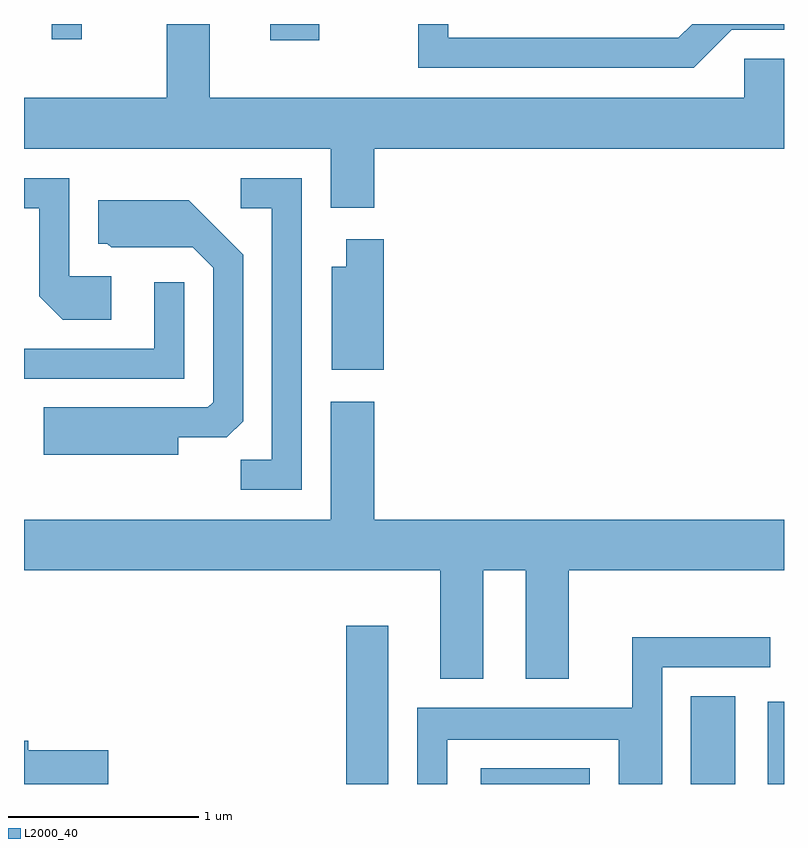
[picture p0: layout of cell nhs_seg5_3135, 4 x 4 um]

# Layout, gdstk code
import gdstk
lib = gdstk.Library(unit=1e-6, precision=1e-09)
def R(c, l, rs):  # rectangles x0, y0, x1, y1
    for r in rs: c.add(gdstk.rectangle(r[:2], r[2:], *l))
def P(c, l, *ps):  # polygons
    for p in ps: c.add(gdstk.Polygon(p, *l))
L2000_40 = (2000, 40)

nhs_seg5_3135 = lib.new_cell('nhs_seg5_3135')
R(nhs_seg5_3135, L2000_40, [(279.306,1500.072,279.529,1500.904), (280.016,1500.072,280.589,1500.154), (281.121,1500.072,281.354,1500.534), (281.526,1500.072,281.611,1500.504), (278.906,1503.986,279.164,1504.072), (277.756,1503.993,277.914,1504.072)])
P(nhs_seg5_3135, L2000_40, [(279.454,1503.416),(281.611,1503.416),(281.611,1503.889),(281.401,1503.889),(281.401,1503.684),(278.589,1503.684),(278.589,1504.072),(278.361,1504.072),(278.361,1503.684),(277.611,1503.684),(277.611,1503.416),(279.226,1503.416),(279.226,1503.106),(279.454,1503.106)],
  [(281.337,1504.041),(281.611,1504.041),(281.611,1504.072),(281.127,1504.072),(281.054,1503.999),(279.844,1503.999),(279.844,1504.072),(279.686,1504.072),(279.686,1503.841),(281.137,1503.841)],
  [(278.069,1502.744),(277.849,1502.744),(277.849,1503.259),(277.611,1503.259),(277.611,1503.101),(277.691,1503.101),(277.691,1502.639),(277.814,1502.516),(278.069,1502.516)],
  [(279.074,1503.259),(278.753,1503.259),(278.753,1503.101),(278.916,1503.101),(278.916,1501.779),(278.753,1501.779),(278.753,1501.621),(279.074,1501.621)],
  [(278.424,1501.896),(278.679,1501.896),(278.764,1501.982),(278.764,1502.857),(278.477,1503.144),(278.001,1503.144),(278.001,1502.916),(278.049,1502.916),(278.069,1502.896),(278.499,1502.896),(278.606,1502.789),(278.606,1502.082),(278.579,1502.054),(277.716,1502.054),(277.716,1501.806),(278.424,1501.806)],
  [(279.504,1502.939),(279.306,1502.939),(279.306,1502.794),(279.231,1502.794),(279.231,1502.251),(279.504,1502.251)],
  [(278.454,1502.713),(278.296,1502.713),(278.296,1502.364),(277.611,1502.364),(277.611,1502.206),(278.454,1502.206)],
  [(280.029,1501.196),(280.251,1501.196),(280.251,1500.626),(280.479,1500.626),(280.479,1501.196),(281.611,1501.196),(281.611,1501.464),(279.454,1501.464),(279.454,1502.084),(279.226,1502.084),(279.226,1501.464),(277.611,1501.464),(277.611,1501.196),(279.801,1501.196),(279.801,1500.626),(280.029,1500.626)],
  [(279.839,1500.306),(280.741,1500.306),(280.741,1500.072),(280.969,1500.072),(280.969,1500.686),(281.538,1500.686),(281.538,1500.844),(280.811,1500.844),(280.811,1500.474),(279.681,1500.474),(279.681,1500.072),(279.839,1500.072)],
  [(278.054,1500.249),(277.634,1500.249),(277.634,1500.299),(277.611,1500.299),(277.611,1500.072),(278.054,1500.072)])

lib.write_gds('nhs_seg5_3135.gds')
